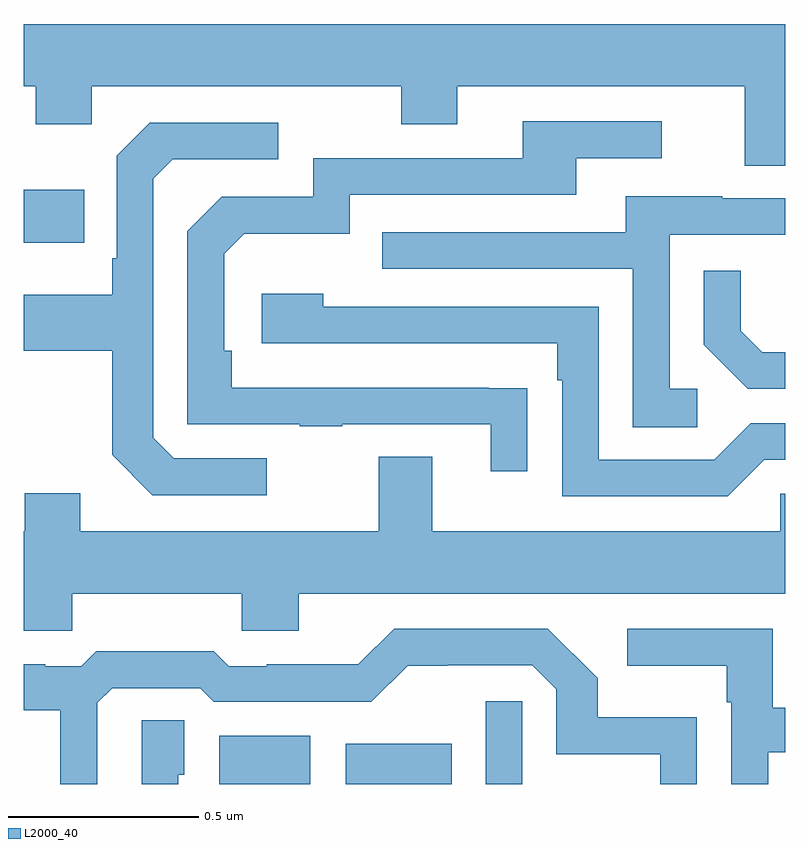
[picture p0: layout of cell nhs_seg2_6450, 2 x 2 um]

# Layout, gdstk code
import gdstk
lib = gdstk.Library(unit=1e-6, precision=1e-09)
def R(c, l, rs):  # rectangles x0, y0, x1, y1
    for r in rs: c.add(gdstk.rectangle(r[:2], r[2:], *l))
def P(c, l, *ps):  # polygons
    for p in ps: c.add(gdstk.Polygon(p, *l))
L2000_40 = (2000, 40)

nhs_seg2_6450 = lib.new_cell('nhs_seg2_6450')
R(nhs_seg2_6450, L2000_40, [(191.513,649.8,191.752,649.927), (191.846,649.8,192.124,649.906), (192.213,649.8,192.309,650.017), (191,651.221,191.159,651.361)])
P(nhs_seg2_6450, L2000_40, [(191,651.632),(191.032,651.632),(191.032,651.533),(191.178,651.533),(191.178,651.632),(191.992,651.632),(191.992,651.533),(192.139,651.533),(192.139,651.632),(192.893,651.632),(192.893,651.424),(193,651.424),(193,651.796),(191,651.796)],
  [(192.323,650.84),(192.221,650.84),(192.221,650.841),(191.546,650.841),(191.546,650.938),(191.526,650.938),(191.526,651.192),(191.579,651.245),(191.856,651.245),(191.856,651.348),(192.451,651.348),(192.451,651.444),(192.676,651.444),(192.676,651.54),(192.311,651.54),(192.311,651.444),(191.76,651.444),(191.76,651.342),(191.52,651.342),(191.43,651.252),(191.43,650.745),(191.725,650.745),(191.725,650.74),(191.837,650.74),(191.837,650.745),(192.227,650.745),(192.227,650.622),(192.323,650.622)],
  [(191.638,650.655),(191.394,650.655),(191.34,650.709),(191.34,651.39),(191.391,651.441),(191.668,651.441),(191.668,651.537),(191.331,651.537),(191.244,651.45),(191.244,651.181),(191.232,651.181),(191.232,651.085),(191,651.085),(191,650.938),(191.232,650.938),(191.232,650.665),(191.337,650.559),(191.638,650.559)],
  [(192.769,650.838),(192.696,650.838),(192.696,651.243),(193,651.243),(193,651.339),(192.835,651.339),(192.835,651.343),(192.581,651.343),(192.581,651.249),(191.941,651.249),(191.941,651.153),(192.6,651.153),(192.6,650.737),(192.769,650.737)],
  [(193,650.934),(192.94,650.934),(192.883,650.991),(192.883,651.148),(192.786,651.148),(192.786,650.954),(192.902,650.838),(193,650.838)],
  [(192.945,650.652),(193,650.652),(193,650.748),(192.909,650.748),(192.813,650.652),(192.51,650.652),(192.51,651.054),(191.786,651.054),(191.786,651.088),(191.625,651.088),(191.625,650.958),(192.401,650.958),(192.401,650.861),(192.414,650.861),(192.414,650.556),(192.849,650.556)],
  [(191.127,650.3),(191.572,650.3),(191.572,650.202),(191.722,650.202),(191.722,650.3),(193,650.3),(193,650.562),(192.987,650.562),(192.987,650.464),(192.073,650.464),(192.073,650.659),(191.933,650.659),(191.933,650.464),(191.149,650.464),(191.149,650.563),(191.002,650.563),(191.002,650.464),(191,650.464),(191,650.202),(191.127,650.202)],
  [(192.955,649.884),(193,649.884),(193,650),(192.967,650),(192.967,650.208),(192.585,650.208),(192.585,650.111),(192.846,650.111),(192.846,650.015),(192.858,650.015),(192.858,649.8),(192.955,649.8)],
  [(191.193,650.013),(191.232,650.052),(191.463,650.052),(191.499,650.016),(191.913,650.016),(192.008,650.111),(192.112,650.111),(192.112,650.112),(192.336,650.112),(192.399,650.049),(192.399,649.878),(192.672,649.878),(192.672,649.8),(192.768,649.8),(192.768,649.975),(192.507,649.975),(192.507,650.078),(192.376,650.208),(191.973,650.208),(191.879,650.114),(191.638,650.114),(191.638,650.109),(191.538,650.109),(191.499,650.149),(191.191,650.149),(191.151,650.109),(191.057,650.109),(191.057,650.114),(191,650.114),(191,649.994),(191.096,649.994),(191.096,649.8),(191.193,649.8)],
  [(191.406,649.824),(191.422,649.824),(191.422,649.967),(191.31,649.967),(191.31,649.8),(191.406,649.8)])

lib.write_gds('nhs_seg2_6450.gds')
